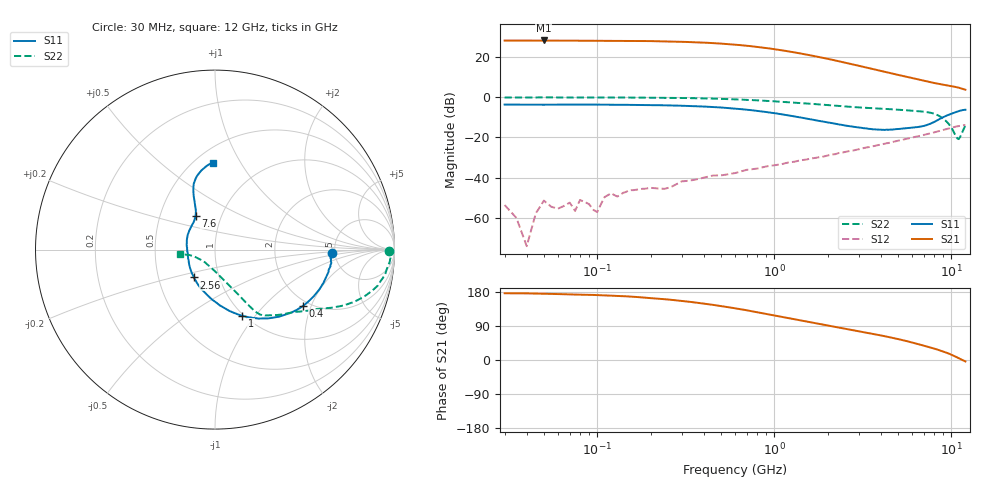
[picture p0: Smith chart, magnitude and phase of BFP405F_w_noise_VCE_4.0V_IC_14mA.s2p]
! Infineon Technologies  Discrete & RF Semiconductors
! BFP405F
! VCE =  4.0 V,  IC =  14 mA
! Common Emitter S-Parameters:  Nov 2015
# GHz  S  MA  R  50
!  f  S11  S21  S12  S22
! GHz  MAG  ANG  MAG  ANG  MAG  ANG  MAG  ANG
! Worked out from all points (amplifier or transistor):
!   239 points, 30 MHz to 12 GHz, reference 50 ohm
!   highest |S21| = 28.1 dB at 50 MHz (marker M1)
!   |S21| within 3 dB of that: start of sweep to 765.1 MHz
!   unconditionally stable (mu >= 1): 34.8 MHz to 42.57 MHz; 2.11 GHz to end of sweep
!   at 300 MHz: K = 0.26, MSG = 34.6 dB, |S12| = -41.8 dB
!   at 1.88 GHz: K = 0.96, MSG = 24.5 dB, |S12| = -29.6 dB
!   at 12 GHz: K = 1.37, MAG = 5.1 dB, |S12| = -13.9 dB
!   lowest NFmin = 1.91 dB at 450 MHz
!   S11 on the Smith chart (normalised r, x): 30 MHz: 4.69, -0.30; 400 MHz: 1.84, -1.75; 1 GHz: 0.98, -0.86; 2.56 GHz: 0.76, -0.24; 7.6 GHz: 0.75, +0.30; 12 GHz: 0.61, +0.77
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0.03  0.65 -1.6  25.25 176.1  0.0021 59.1  0.9721 -0.3
0.04  0.646 -2.9  25.21 175.8  0.0002 -62.3  0.9718 -0.8
0.05  0.6454 -4.4  25.34 174.7  0.0027 74.1  0.9823 -0.7
0.085  0.6505 -7.1  24.95 172.1  0.0025 91.9  0.9794 -2.3
0.1  0.6502 -8.2  24.82 171.3  0.0014 43.1  0.9781 -3.0
0.11  0.646 -9.4  24.79 170.4  0.0033 92.9  0.9765 -3.3
0.14  0.6429 -11.8  24.74 168.5  0.0042 89.6  0.9756 -4.5
0.2  0.6324 -16.9  24.45 163.3  0.0056 82.2  0.9635 -6.4
0.24  0.6241 -20.2  24.01 160.4  0.0053 85.4  0.96 -7.7
0.3  0.609 -25.1  23.5 155.9  0.0081 79.6  0.9488 -9.6
0.4  0.5816 -32.8  22.41 148.8  0.01 76.2  0.9297 -12.4
0.6  0.5169 -46.3  19.94 136.3  0.013 74.4  0.8769 -17.0
0.8  0.4544 -57.7  17.52 126.1  0.0168 72.0  0.8289 -20.5
1  0.3993 -67.7  15.41 117.7  0.0203 71.5  0.7835 -23.3
1.3  0.3292 -80.8  12.82 107.5  0.0249 70.1  0.7272 -26.4
1.64  0.2757 -94.1  10.6 98.8  0.0302 69.5  0.6762 -29.2
2.12  0.2253 -112.1  8.416 89.0  0.0377 68.9  0.6189 -33.4
2.56  0.1945 -127.1  6.994 81.9  0.0443 68.2  0.5805 -36.6
4.5  0.1557 179.2  3.941 60.0  0.0743 62.6  0.5007 -46.8
7.6  0.2177 119.8  2.339 33.2  0.1255 50.5  0.4088 -56.9
11  0.4486 99.6  1.709 4.5  0.1912 30.9  0.0905 -133.9
12  0.4843 91.2  1.52 -3.7  0.203 25.1  0.1958 -172.8
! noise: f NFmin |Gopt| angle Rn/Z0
0.45  1.91  0.12  3  0.31
0.9  1.94  0.11  6  0.31
1.5  1.98  0.1  10  0.2
1.9  2.03  0.08  15  0.24
2.4  2.17  0.06  22  0.38
3  2.25  0.04  27  0.41
3.5  2.31  0.02  23  0.49
4.5  2.5  0.07  -88  0.15
5.5  2.76  0.15  -87  0.08
